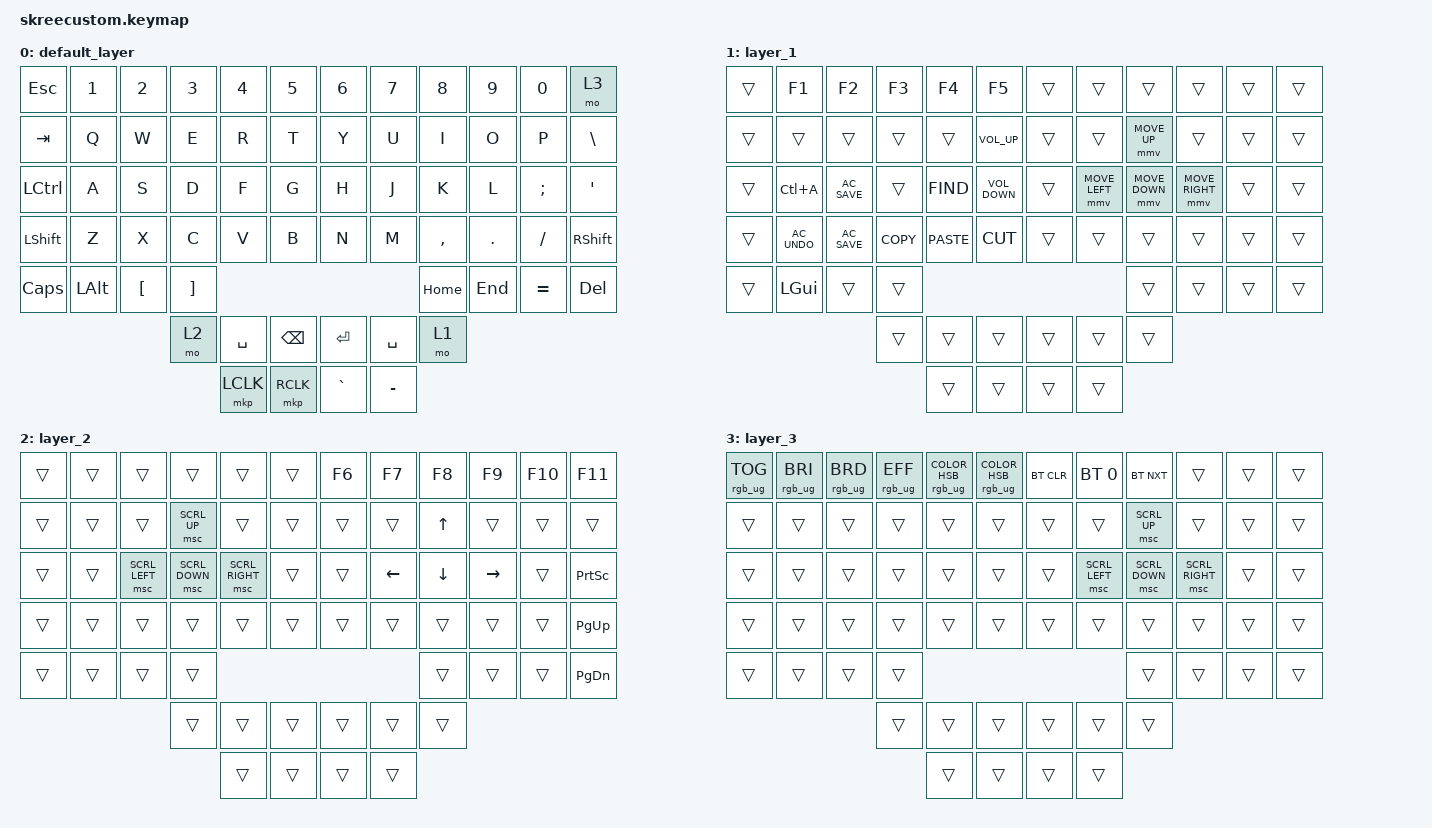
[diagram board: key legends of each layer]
/*
 * Copyright (c) 2020 The ZMK Contributors
 *
 * SPDX-License-Identifier: MIT
 */
//#include <behaviors/mouse_keys.dtsi>

#include <input/processors.dtsi>
#include <dt-bindings/zmk/input_transform.h>
#include <behaviors.dtsi>
#include <dt-bindings/zmk/bt.h>
#include <dt-bindings/zmk/keys.h>
#include <dt-bindings/zmk/pointing.h>
#include <dt-bindings/zmk/rgb.h>

/ {
    combos { compatible = "zmk,combos"; };

    keymap {
        compatible = "zmk,keymap";

        default_layer {
            bindings = <
&kp ESC           &kp N1        &kp N2            &kp N3             &kp N4     &kp N5       &kp N6     &kp N7     &kp N8     &kp N9   &kp N0     &mo 3
&kp TAB           &kp Q         &kp W             &kp E              &kp R      &kp T        &kp Y      &kp U      &kp I      &kp O    &kp P      &kp BACKSLASH
&kp LEFT_CONTROL  &kp A         &kp S             &kp D              &kp F      &kp G        &kp H      &kp J      &kp K      &kp L    &kp SEMI   &kp SQT
&kp LEFT_SHIFT    &kp Z         &kp X             &kp C              &kp V      &kp B        &kp N      &kp M      &kp COMMA  &kp DOT  &kp FSLH   &kp RIGHT_SHIFT
&kp CAPSLOCK      &kp LEFT_ALT  &kp LEFT_BRACKET  &kp RIGHT_BRACKET                                                &kp HOME   &kp END  &kp EQUAL  &kp DELETE
                                                  &mo 2              &kp SPACE  &kp BSPC     &kp RET    &kp SPACE  &mo 1
                                                                     &mkp LCLK  &mkp RCLK    &kp GRAVE  &kp MINUS
            >;
        };

        layer_1 {
            bindings = <
&trans  &kp F1         &kp F2         &kp F3      &kp F4       &kp F5               &trans  &trans          &trans          &trans           &trans  &trans
&trans  &trans         &trans         &trans      &trans       &kp C_VOLUME_UP      &trans  &trans          &mmv MOVE_UP    &trans           &trans  &trans
&trans  &kp LC(A)      &kp C_AC_SAVE  &trans      &kp K_FIND   &kp C_VOLUME_DOWN    &trans  &mmv MOVE_LEFT  &mmv MOVE_DOWN  &mmv MOVE_RIGHT  &trans  &trans
&trans  &kp C_AC_UNDO  &kp C_AC_SAVE  &kp K_COPY  &kp K_PASTE  &kp K_CUT            &trans  &trans          &trans          &trans           &trans  &trans
&trans  &kp LEFT_GUI   &trans         &trans                                                                &trans          &trans           &trans  &trans
                                      &trans      &trans       &trans               &trans  &trans          &trans
                                                  &trans       &trans               &trans  &trans
            >;
        };

        layer_2 {
            bindings = <
&trans  &trans  &trans          &trans          &trans           &trans    &kp F6  &kp F7    &kp F8    &kp F9     &kp F10  &kp F11
&trans  &trans  &trans          &msc SCRL_UP    &trans           &trans    &trans  &trans    &kp UP    &trans     &trans   &trans
&trans  &trans  &msc SCRL_LEFT  &msc SCRL_DOWN  &msc SCRL_RIGHT  &trans    &trans  &kp LEFT  &kp DOWN  &kp RIGHT  &trans   &kp PRINTSCREEN
&trans  &trans  &trans          &trans          &trans           &trans    &trans  &trans    &trans    &trans     &trans   &kp PAGE_UP
&trans  &trans  &trans          &trans                                                       &trans    &trans     &trans   &kp PAGE_DOWN
                                &trans          &trans           &trans    &trans  &trans    &trans
                                                &trans           &trans    &trans  &trans
            >;
        };

        layer_3 {
            bindings = <
&rgb_ug RGB_TOG  &rgb_ug RGB_BRI  &rgb_ug RGB_BRD  &rgb_ug RGB_EFF  &rgb_ug RGB_COLOR_HSB(286,100,73)  &rgb_ug RGB_COLOR_HSB(0,0,100)    &bt BT_CLR  &bt BT_SEL 0    &bt BT_NXT      &trans           &trans  &trans
&trans           &trans           &trans           &trans           &trans                             &trans                            &trans      &trans          &msc SCRL_UP    &trans           &trans  &trans
&trans           &trans           &trans           &trans           &trans                             &trans                            &trans      &msc SCRL_LEFT  &msc SCRL_DOWN  &msc SCRL_RIGHT  &trans  &trans
&trans           &trans           &trans           &trans           &trans                             &trans                            &trans      &trans          &trans          &trans           &trans  &trans
&trans           &trans           &trans           &trans                                                                                                            &trans          &trans           &trans  &trans
                                                   &trans           &trans                             &trans                            &trans      &trans          &trans
                                                                    &trans                             &trans                            &trans      &trans
            >;
        };
    };
};

// //right hand trackball overrides
// &trackball_peripheral_listener {
//     input-processors =
//         <&zip_xy_transform INPUT_TRANSFORM_XY_SWAP>,//this gets it to the default installation orientation
//         <&zip_temp_layer 3 500>;//activate layer 3 within 500ms of the trackball moving
// };
// //left hand trackball overrides
// &trackball_central_listener {
//     input-processors = 
//         <&zip_xy_transform INPUT_TRANSFORM_XY_SWAP>,//this gets it to the default installation orientation
//         <&zip_xy_scaler 1 3>,//multiply sensitivity by 1, divide by 3 (make it slower for scrolling)
//         <&zip_xy_to_scroll_mapper>,//make this trackball output scrolling events by default instead of cursor movement
//         <&zip_scroll_transform INPUT_TRANSFORM_Y_INVERT>;//invert vertical scrolling so that the view moves in the same direction as the top of the trackball.
// };
